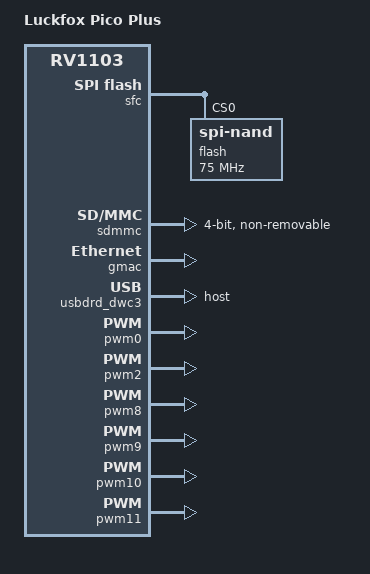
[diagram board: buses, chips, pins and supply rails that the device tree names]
// SPDX-License-Identifier: (GPL-2.0+ OR MIT)
/*
 * Copyright (c) 2022 Rockchip Electronics Co., Ltd.
 */

/dts-v1/;

#include "rv1103.dtsi"
#include "rv1106-evb.dtsi"
#include "rv1103-luckfox-pico-ipc.dtsi"

/ {
	model = "Luckfox Pico Plus";
	compatible = "rockchip,rv1103g-38x38-ipc-v10", "rockchip,rv1103";
};

/**********SFC**********/
&sfc {
	status = "okay";
	flash@0 {
		compatible = "spi-nand";
		reg = <0>;
		spi-max-frequency = <75000000>;
		spi-rx-bus-width = <4>;
		spi-tx-bus-width = <1>;
	};
};

/**********SDMMC**********/
&sdmmc {
	max-frequency = <50000000>;
	no-mmc;
	bus-width = <4>;
	cap-mmc-highspeed;
	cap-sd-highspeed;
	disable-wp;
	
	//sdio
	cap-sdio-irq;
	non-removable;	
	no-1-8-v;
	supports-sdio;

	pinctrl-names = "default";
	pinctrl-0 = <&sdmmc0_clk &sdmmc0_cmd &sdmmc0_det &sdmmc0_bus4>;
	status = "okay";
};

/**********ETH**********/
&gmac {
	status = "okay";
};

/**********USB**********/
&usbdrd_dwc3 {
	status = "okay";
	dr_mode = "host";
};

/**********SPI**********/
/* SPI0_M0 */
&spi0 {
	status = "disabled";
	spidev@0 {
		spi-max-frequency = <50000000>;
	};
	fbtft@0 {
		spi-max-frequency = <50000000>;
	};
};

/**********I2C**********/
/* I2C3_M1 */
&i2c3 {
	status = "disabled";
	clock-frequency = <100000>;
};

/* I2C0_M2 */
&i2c0 {
	status = "disabled";
	clock-frequency = <100000>;
};

/**********UART**********/
/* UART3_M1 */
&uart3 {
	status = "disabled";
};

/* UART4_M1 */
&uart4 {
	status = "disabled";
};

/**********PWM**********/
/* PWM0_M1 */
&pwm0 {
	status = "okay";
	pinctrl-0 = <&pwm0m1_pins>;
};

/* PWM1_M0 */
&pwm1 {
	status = "disabled";
};

/* PWM2_M2 */
&pwm2 {
	status = "okay";
	pinctrl-0 = <&pwm2m2_pins>;
};

/* PWM8_M1 */
&pwm8 {
	status = "okay";
	pinctrl-0 = <&pwm8m1_pins>;
};

/* PWM9_M1 */
&pwm9 {
	status = "okay";
	pinctrl-0 = <&pwm9m1_pins>;
};

/* PWM10_M1 */
&pwm10 {
	status = "okay";
	pinctrl-0 = <&pwm10m1_pins>;
};

/* PWM11_M1 */
&pwm11 {
	status = "okay";
	pinctrl-0 = <&pwm11m1_pins>;
};

